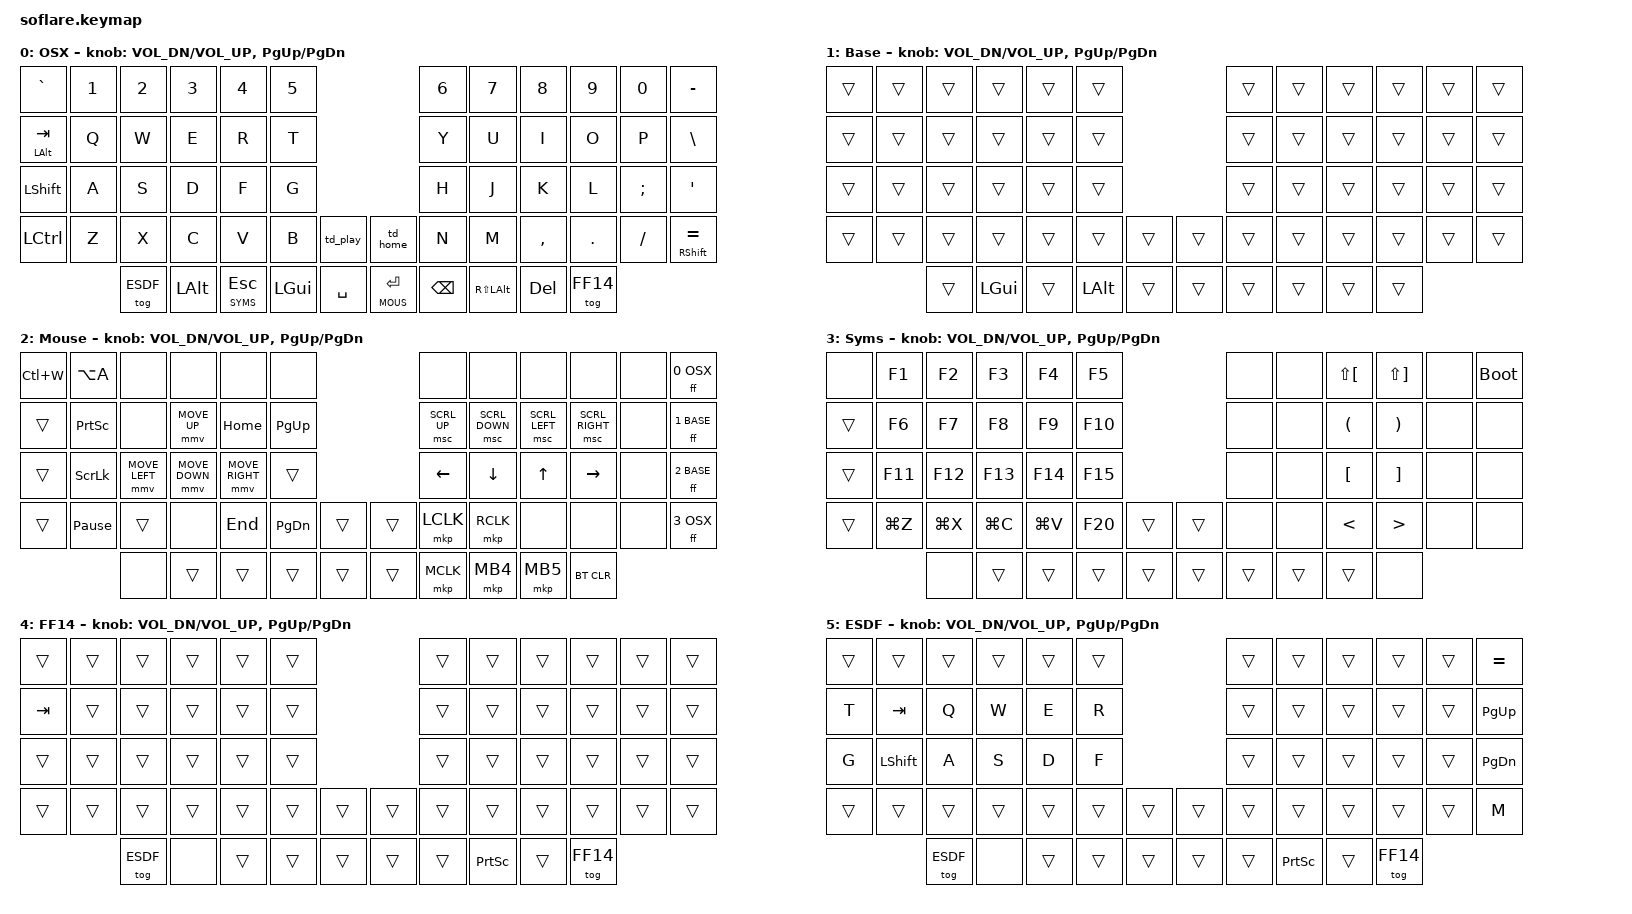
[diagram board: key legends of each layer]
/*
 * Sofle v2.0w - flare576
 * ZMK keymap
 */

#include <behaviors.dtsi>
#include <dt-bindings/zmk/keys.h>
#include <dt-bindings/zmk/bt.h>
#include <dt-bindings/zmk/outputs.h>

#define ZMK_POINTING_DEFAULT_MOVE_VAL 2500  // default: 600
#define ZMK_POINTING_DEFAULT_SCRL_VAL 20    // default: 10

#include <dt-bindings/zmk/pointing.h>
#include <dt-bindings/zmk/mouse.h>

// nice!view CS pin override for v2.0w
&nice_view_spi {
    cs-gpios = <&pro_micro 0 GPIO_ACTIVE_HIGH>;
};

// Mouse Movement settings
&mmv {
    x-input-code = <INPUT_REL_X>;
    y-input-code = <INPUT_REL_Y>;
    time-to-max-speed-ms = <500>; // default: 300
    acceleration-exponent = <1>; // default: 1
};

// Mouse Scroll settings
&msc {
    x-input-code = <INPUT_REL_HWHEEL>;
    y-input-code = <INPUT_REL_WHEEL>;
    time-to-max-speed-ms = <300>; // default: 300
    acceleration-exponent = <0>; // default: 0
};

// Layer indices
#define OSX   0
#define BASE  1
#define MOUS  2
#define SYMS  3
#define FF14  4
#define ESDF  5

/ {
    behaviors {
      td_play: td_play {
          compatible = "zmk,behavior-tap-dance";
          label = "PLAY_TAP_DANCE";
          #binding-cells = <0>;
          tapping-term-ms = <200>; // Time allowed between clicks
          bindings = <&kp C_PP>, <&kp C_NEXT>; // 1st click = Play, 2nd click = Skip/Next
      };
      td_home: td_home {
          compatible = "zmk,behavior-tap-dance";
          label = "HOME_TAP_DANCE";
          #binding-cells = <0>;
          tapping-term-ms = <200>; // Time allowed between clicks
          bindings = <&kp HOME>, <&kp END>; // 1st click = Home, 2nd click = End
      };
    };
    macros {
      // Macro for profile and layer swap
      ff: ff {
          compatible = "zmk,behavior-macro-two-param";
          wait-ms = <0>;
          tap-ms = <0>;
          #binding-cells = <2>;
          bindings
              = <&macro_param_1to2>
              , <&bt BT_SEL MACRO_PLACEHOLDER>
              , <&macro_param_2to1>
              , <&to MACRO_PLACEHOLDER>
              ;
      };
    };
    keymap {
        compatible = "zmk,keymap";

        // Note: Apple's keyboard settings don't discern right- and left-ALT, so swapping keys there breaks TAB & META
        osx_layer {
            label = "OSX";
            bindings = <
// ╭──────────┬──────────┬──────────┬──────────┬──────────┬──────────╮                        ╭──────────┬────────────┬──────────┬──────────┬──────────┬──────────╮
    &kp GRAVE  &kp N1    &kp N2     &kp N3     &kp N4     &kp N5                              &kp N6     &kp N7       &kp N8     &kp N9     &kp N0     &kp MINUS
// ├──────────┼──────────┼──────────┼──────────┼──────────┼──────────┤                        ├──────────┼────────────┼──────────┼──────────┼──────────┼──────────┤
    &mt LALT TAB &kp Q   &kp W      &kp E      &kp R      &kp T                               &kp Y      &kp U        &kp I      &kp O      &kp P      &kp BSLH
// ├──────────┼──────────┼──────────┼──────────┼──────────┼──────────┤                        ├──────────┼────────────┼──────────┼──────────┼──────────┼──────────┤
    &kp LSHFT  &kp A     &kp S      &kp D      &kp F      &kp G                               &kp H      &kp J        &kp K      &kp L      &kp SEMI   &kp SQT
// ├──────────┼──────────┼──────────┼──────────┼──────────┼──────────┼──────────╮╭────────────┼──────────┼────────────┼──────────┼──────────┼──────────┼──────────┤
    &kp LCTRL  &kp Z     &kp X      &kp C      &kp V      &kp B      &td_play    &td_home     &kp N      &kp M        &kp COMMA  &kp DOT    &kp FSLH   &mt RSHFT EQUAL
// ╰──────────┴──────────┼──────────┼──────────┼──────────┼──────────┼──────────╯╰────────────┼──────────┼────────────┼──────────┼──────────┴──────────┴──────────╯
                         &tog ESDF  &kp LALT   &lt SYMS ESC &kp LGUI &kp SPACE   &lt MOUS RET &kp BSPC   &kp RS(LALT) &kp DEL    &tog FF14
//                       ╰──────────┴──────────┴──────────┴──────────┴──────────╯╰────────────┴──────────┴────────────┴──────────┴──────────╯
            >;
            sensor-bindings = <&inc_dec_kp C_VOL_DN C_VOL_UP &inc_dec_kp PG_UP PG_DN>;
        };

        base_layer {
            label = "Base";
            bindings = <
// ╭──────────┬──────────┬──────────┬──────────┬──────────┬──────────╮                    ╭──────────┬──────────┬──────────┬──────────┬──────────┬──────────╮
   &trans     &trans     &trans     &trans     &trans     &trans                          &trans     &trans     &trans     &trans     &trans     &trans
// ├──────────┼──────────┼──────────┼──────────┼──────────┼──────────┤                    ├──────────┼──────────┼──────────┼──────────┼──────────┼──────────┤
   &trans     &trans     &trans     &trans     &trans     &trans                          &trans     &trans     &trans     &trans     &trans     &trans
// ├──────────┼──────────┼──────────┼──────────┼──────────┼──────────┤                    ├──────────┼──────────┼──────────┼──────────┼──────────┼──────────┤
   &trans     &trans     &trans     &trans     &trans     &trans                          &trans     &trans     &trans     &trans     &trans     &trans
// ├──────────┼──────────┼──────────┼──────────┼──────────┼──────────┼──────────╮╭────────┼──────────┼──────────┼──────────┼──────────┼──────────┼──────────┤
   &trans     &trans     &trans     &trans     &trans     &trans     &trans      &trans   &trans     &trans     &trans     &trans     &trans     &trans
// ╰──────────┴──────────┴──────────┼──────────┼──────────┼──────────┼──────────╯╰────────┼──────────┼──────────┼──────────┼──────────┴──────────┴──────────╯
                         &trans     &kp LGUI   &trans     &kp LALT   &trans      &trans   &trans     &trans     &trans     &trans
//                       ╰──────────┴──────────┴──────────┴──────────┴──────────╯╰────────┴──────────┴──────────┴──────────┴──────────╯
            >;
            sensor-bindings = <&inc_dec_kp C_VOL_DN C_VOL_UP &inc_dec_kp PG_UP PG_DN>;
        };

        mous_layer {
            label = "Mouse";
            bindings = <
// ╭──────────┬──────────┬──────────────┬──────────────┬───────────────┬──────────╮                    ╭────────────┬──────────────┬──────────────┬───────────────┬──────────┬──────────╮
   &kp LC(W)  &kp LA(A)  &none          &none          &none           &none                           &none        &none          &none          &none           &none      &ff 0 OSX
// ├──────────┼──────────┼──────────────┼──────────────┼───────────────┼──────────┤                    ├────────────┼──────────────┼──────────────┼───────────────┼──────────┼──────────┤
   &trans     &kp PSCRN  &none          &mmv MOVE_UP   &kp  HOME       &kp PG_UP                       &msc SCRL_UP &msc SCRL_DOWN &msc SCRL_LEFT &msc SCRL_RIGHT &none      &ff 1 BASE
// ├──────────┼──────────┼──────────────┼──────────────┼───────────────┼──────────┤                    ├────────────┼──────────────┼──────────────┼───────────────┼──────────┼──────────┤
   &trans     &kp SLCK   &mmv MOVE_LEFT &mmv MOVE_DOWN &mmv MOVE_RIGHT &trans                          &kp LEFT     &kp DOWN       &kp UP         &kp RIGHT       &none      &ff 2 BASE
// ├──────────┼──────────┼──────────────┼──────────────┼───────────────┼──────────┼──────────╮╭────────┼────────────┼──────────────┼──────────────┼───────────────┼──────────┼──────────┤
   &trans     &kp PAUSE_BREAK &trans    &none          &kp END         &kp PG_DN  &trans      &trans   &mkp LCLK    &mkp RCLK      &none          &none           &none      &ff 3 OSX
// ╰──────────┴──────────┴──────────────┼──────────────┼───────────────┼──────────┼──────────╯╰────────┼────────────┼──────────────┼──────────────┼───────────────┴──────────┴──────────╯
                         &none          &trans         &trans          &trans     &trans      &trans   &mkp MCLK    &mkp MB4       &mkp MB5       &bt BT_CLR
//                       ╰──────────────┴──────────────┴───────────────┴──────────┴──────────╯╰────────┴────────────┴──────────────┴──────────────┴──────────╯
            >;
            sensor-bindings = <&inc_dec_kp C_VOL_DN C_VOL_UP &inc_dec_kp PG_UP PG_DN>;
        };

        syms_layer {
            label = "Syms";
            bindings = <
// ╭──────────┬──────────┬──────────┬──────────┬──────────┬──────────╮                    ╭──────────┬──────────┬────────────┬──────────┬──────────┬──────────╮
   &none      &kp F1     &kp F2     &kp F3     &kp F4     &kp F5                          &none      &none      &kp LS(LBKT) &kp LS(RBKT) &none    &bootloader
// ├──────────┼──────────┼──────────┼──────────┼──────────┼──────────┤                    ├──────────┼──────────┼────────────┼──────────┼──────────┼──────────┤
   &trans     &kp F6     &kp F7     &kp F8     &kp F9     &kp F10                         &none      &none      &kp LPAR     &kp RPAR   &none      &none
// ├──────────┼──────────┼──────────┼──────────┼──────────┼──────────┤                    ├──────────┼──────────┼────────────┼──────────┼──────────┼──────────┤
   &trans     &kp F11    &kp F12    &kp F13    &kp F14    &kp F15                         &none      &none      &kp LBKT     &kp RBKT   &none      &none
// ├──────────┼──────────┼──────────┼──────────┼──────────┼──────────┼──────────╮╭────────┼──────────┼──────────┼────────────┼──────────┼──────────┼──────────┤
   &trans     &kp LG(Z)  &kp LG(X)  &kp LG(C)  &kp LG(V)  &kp F20    &trans      &trans   &none      &none      &kp LT       &kp GT     &none      &none
// ╰──────────┴──────────┴──────────┼──────────┼──────────┼──────────┼──────────╯╰────────┼──────────┼──────────┼────────────┼──────────┴──────────┴──────────╯
                         &none      &trans     &trans     &trans     &trans      &trans   &trans     &trans     &trans       &none
//                       ╰──────────┴──────────┴──────────┴──────────┴──────────╯╰────────┴──────────┴──────────┴────────────┴──────────╯
            >;
            sensor-bindings = <&inc_dec_kp C_VOL_DN C_VOL_UP &inc_dec_kp PG_UP PG_DN>;
        };

        ff14_layer {
            label = "FF14";
            bindings = <
// ╭──────────┬──────────┬──────────┬──────────┬──────────┬──────────╮                    ╭──────────┬──────────┬──────────┬──────────┬──────────┬──────────╮
   &trans     &trans     &trans     &trans     &trans     &trans                          &trans     &trans     &trans     &trans     &trans     &trans
// ├──────────┼──────────┼──────────┼──────────┼──────────┼──────────┤                    ├──────────┼──────────┼──────────┼──────────┼──────────┼──────────┤
   &kp TAB    &trans     &trans     &trans     &trans     &trans                          &trans     &trans     &trans     &trans     &trans     &trans
// ├──────────┼──────────┼──────────┼──────────┼──────────┼──────────┤                    ├──────────┼──────────┼──────────┼──────────┼──────────┼──────────┤
   &trans     &trans     &trans     &trans     &trans     &trans                          &trans     &trans     &trans     &trans     &trans     &trans
// ├──────────┼──────────┼──────────┼──────────┼──────────┼──────────┼──────────╮╭────────┼──────────┼──────────┼──────────┼──────────┼──────────┼──────────┤
   &trans     &trans     &trans     &trans     &trans     &trans     &trans      &trans   &trans     &trans     &trans     &trans     &trans     &trans
// ╰──────────┴──────────┴──────────┼──────────┼──────────┼──────────┼──────────╯╰────────┼──────────┼──────────┼──────────┼──────────┴──────────┴──────────╯
                         &tog ESDF  &none      &trans     &trans     &trans      &trans   &trans     &kp PSCRN  &trans     &tog FF14
//                       ╰──────────┴──────────┴──────────┴──────────┴──────────╯╰────────┴──────────┴──────────┴──────────┴──────────╯
            >;
            sensor-bindings = <&inc_dec_kp C_VOL_DN C_VOL_UP &inc_dec_kp PG_UP PG_DN>;
        };

        esdf_layer {
            label = "ESDF";
            bindings = <
// ╭──────────┬──────────┬──────────┬──────────┬──────────┬──────────╮                    ╭──────────┬──────────┬──────────┬──────────┬──────────┬──────────╮
   &trans     &trans     &trans     &trans     &trans     &trans                          &trans     &trans     &trans     &trans     &trans     &kp EQUAL
// ├──────────┼──────────┼──────────┼──────────┼──────────┼──────────┤                    ├──────────┼──────────┼──────────┼──────────┼──────────┼──────────┤
   &kp T      &kp TAB    &kp Q      &kp W      &kp E      &kp R                           &trans     &trans     &trans     &trans     &trans     &kp PG_UP
// ├──────────┼──────────┼──────────┼──────────┼──────────┼──────────┤                    ├──────────┼──────────┼──────────┼──────────┼──────────┼──────────┤
   &kp G      &kp LSHFT  &kp A      &kp S      &kp D      &kp F                           &trans     &trans     &trans     &trans     &trans     &kp PG_DN
// ├──────────┼──────────┼──────────┼──────────┼──────────┼──────────┼──────────╮╭────────┼──────────┼──────────┼──────────┼──────────┼──────────┼──────────┤
   &trans     &trans     &trans     &trans     &trans     &trans     &trans      &trans   &trans     &trans     &trans     &trans     &trans     &kp M
// ╰──────────┴──────────┴──────────┼──────────┼──────────┼──────────┼──────────╯╰────────┼──────────┼──────────┼──────────┼──────────┴──────────┴──────────╯
                         &tog ESDF  &none      &trans     &trans     &trans      &trans   &trans     &kp PSCRN  &trans     &tog FF14
//                       ╰──────────┴──────────┴──────────┴──────────┴──────────╯╰────────┴──────────┴──────────┴──────────┴──────────╯
            >;
            sensor-bindings = <&inc_dec_kp C_VOL_DN C_VOL_UP &inc_dec_kp PG_UP PG_DN>;
        };
    };
};
